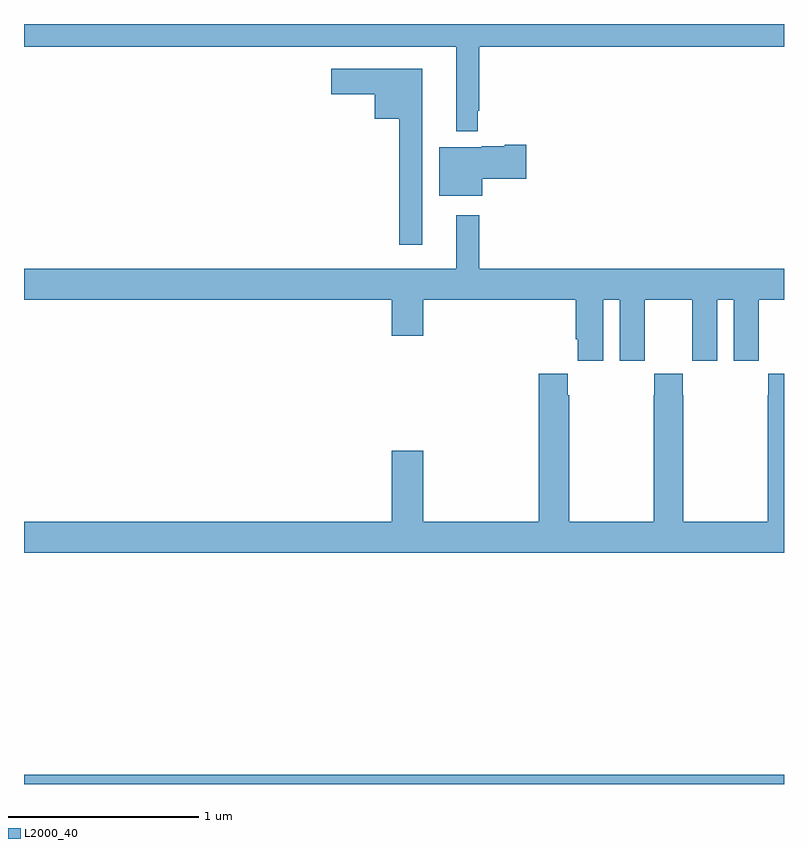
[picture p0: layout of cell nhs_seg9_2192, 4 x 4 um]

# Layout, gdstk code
import gdstk
lib = gdstk.Library(unit=1e-6, precision=1e-09)
def R(c, l, rs):  # rectangles x0, y0, x1, y1
    for r in rs: c.add(gdstk.rectangle(r[:2], r[2:], *l))
def P(c, l, *ps):  # polygons
    for p in ps: c.add(gdstk.Polygon(p, *l))
L2000_40 = (2000, 40)

nhs_seg9_2192 = lib.new_cell('nhs_seg9_2192')
R(nhs_seg9_2192, L2000_40, [(235,1232.5,239,1232.548)])
P(nhs_seg9_2192, L2000_40, [(237.389,1236.043),(237.397,1236.043),(237.397,1236.38),(239,1236.38),(239,1236.5),(235,1236.5),(235,1236.38),(237.275,1236.38),(237.275,1235.936),(237.389,1235.936)],
  [(237.097,1236.265),(236.616,1236.265),(236.616,1236.131),(236.846,1236.131),(236.846,1236.002),(236.976,1236.002),(236.976,1235.337),(237.097,1235.337)],
  [(237.412,1235.686),(237.643,1235.686),(237.643,1235.864),(237.53,1235.864),(237.53,1235.857),(237.408,1235.857),(237.408,1235.851),(237.185,1235.851),(237.185,1235.597),(237.412,1235.597)],
  [(235,1235.048),(236.936,1235.048),(236.936,1234.86),(237.1,1234.86),(237.1,1235.048),(237.905,1235.048),(237.905,1234.84),(237.914,1234.84),(237.914,1234.728),(238.048,1234.728),(238.048,1235.048),(238.136,1235.048),(238.136,1234.728),(238.266,1234.728),(238.266,1234.84),(238.267,1234.84),(238.267,1235.048),(238.517,1235.048),(238.517,1234.84),(238.518,1234.84),(238.518,1234.728),(238.648,1234.728),(238.648,1235.048),(238.736,1235.048),(238.736,1234.728),(238.866,1234.728),(238.866,1234.84),(238.867,1234.84),(238.867,1235.048),(239,1235.048),(239,1235.212),(237.397,1235.212),(237.397,1235.494),(237.275,1235.494),(237.275,1235.212),(235,1235.212)],
  [(239,1234.66),(238.917,1234.66),(238.917,1234.547),(238.915,1234.547),(238.915,1233.88),(238.47,1233.88),(238.47,1234.547),(238.467,1234.547),(238.467,1234.66),(238.317,1234.66),(238.317,1234.547),(238.315,1234.547),(238.315,1233.88),(237.87,1233.88),(237.87,1234.547),(237.863,1234.547),(237.863,1234.66),(237.71,1234.66),(237.71,1233.88),(237.1,1233.88),(237.1,1234.255),(236.936,1234.255),(236.936,1233.88),(235,1233.88),(235,1233.716),(239,1233.716)])

lib.write_gds('nhs_seg9_2192.gds')
